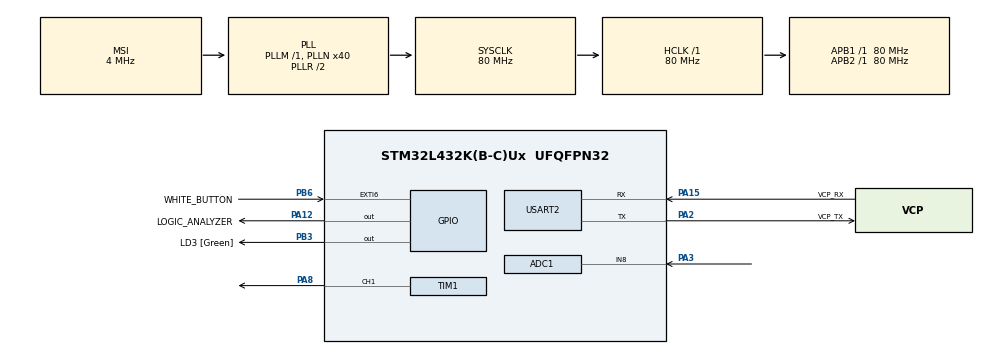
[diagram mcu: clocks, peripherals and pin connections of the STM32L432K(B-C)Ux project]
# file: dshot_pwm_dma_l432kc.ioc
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ADC1.Channel-0\#ChannelRegularConversion=ADC_CHANNEL_8
ADC1.NbrOfConversionFlag=1
ADC1.OffsetNumber-0\#ChannelRegularConversion=ADC_OFFSET_NONE
ADC1.OversamplingMode=DISABLE
ADC1.Rank-0\#ChannelRegularConversion=1
ADC1.Resolution=ADC_RESOLUTION_10B
ADC1.SamplingTime-0\#ChannelRegularConversion=ADC_SAMPLETIME_2CYCLES_5
ADC1.master=1
Dma.Request0=TIM1_CH1
Dma.Request1=TIM1_UP
Dma.TIM1_CH1.0.Direction=DMA_MEMORY_TO_PERIPH
Dma.TIM1_CH1.0.Instance=DMA1_Channel2
Dma.TIM1_CH1.0.MemDataAlignment=DMA_MDATAALIGN_BYTE
Dma.TIM1_CH1.0.MemInc=DMA_MINC_ENABLE
Dma.TIM1_CH1.0.Mode=DMA_NORMAL
Dma.TIM1_CH1.0.PeriphDataAlignment=DMA_PDATAALIGN_HALFWORD
Dma.TIM1_CH1.0.PeriphInc=DMA_PINC_DISABLE
Dma.TIM1_CH1.0.Priority=DMA_PRIORITY_LOW
Dma.TIM1_UP.1.Direction=DMA_MEMORY_TO_PERIPH
Dma.TIM1_UP.1.Instance=DMA1_Channel6
Dma.TIM1_UP.1.MemDataAlignment=DMA_MDATAALIGN_BYTE
Dma.TIM1_UP.1.MemInc=DMA_MINC_ENABLE
Dma.TIM1_UP.1.Mode=DMA_NORMAL
Dma.TIM1_UP.1.PeriphDataAlignment=DMA_PDATAALIGN_HALFWORD
Dma.TIM1_UP.1.PeriphInc=DMA_PINC_DISABLE
Dma.TIM1_UP.1.Priority=DMA_PRIORITY_LOW
Mcu.Family=STM32L4
Mcu.Name=STM32L432K(B-C)Ux
Mcu.Package=UFQFPN32
NVIC.DMA1_Channel2_IRQn=true\:0\:0\:false\:false\:true\:false\:true\:true
NVIC.DMA1_Channel6_IRQn=true\:0\:0\:false\:false\:true\:false\:true\:true
NVIC.EXTI9_5_IRQn=true\:0\:0\:false\:false\:true\:true\:true\:true
NVIC.PriorityGroup=NVIC_PRIORITYGROUP_4
PA0.GPIO_Label=MCO [High speed clock in]
PA0.Mode=HSE-External-Clock-Source-for-LittleOrca
PA0.Signal=RCC_CK_IN
PA10.Signal=I2C1_SDA
PA12.GPIO_Label=LOGIC_ANALYZER
PA12.Signal=GPIO_Output
PA13\ (JTMS-SWDIO).GPIO_Label=SWDIO
PA13\ (JTMS-SWDIO).Mode=Serial_Wire
PA13\ (JTMS-SWDIO).Signal=SYS_JTMS-SWDIO
PA14\ (JTCK-SWCLK).GPIO_Label=SWCLK
PA14\ (JTCK-SWCLK).Mode=Serial_Wire
PA14\ (JTCK-SWCLK).Signal=SYS_JTCK-SWCLK
PA15\ (JTDI).GPIO_Label=VCP_RX
PA15\ (JTDI).Mode=Asynchronous
PA15\ (JTDI).Signal=USART2_RX
PA2.GPIO_Label=VCP_TX
PA2.Mode=Asynchronous
PA2.Signal=USART2_TX
PA3.Signal=ADCx_IN8
PA8.Signal=S_TIM1_CH1
PA9.Signal=I2C1_SCL
PB3\ (JTDO-TRACESWO).GPIO_Label=LD3 [Green]
PB3\ (JTDO-TRACESWO).Signal=GPIO_Output
PB4\ (NJTRST).Signal=SPI1_MISO
PB5.Signal=SPI1_MOSI
PB6.GPIO_Label=WHITE_BUTTON
PB6.GPIO_ModeDefaultEXTI=GPIO_MODE_IT_FALLING
PB6.GPIO_PuPd=GPIO_PULLUP
PB6.Signal=GPXTI6
PC14-OSC32_IN\ (PC14).Mode=LSE-External-Oscillator
PC14-OSC32_IN\ (PC14).Signal=RCC_OSC32_IN
PC15-OSC32_OUT\ (PC15).Mode=LSE-External-Oscillator
PC15-OSC32_OUT\ (PC15).Signal=RCC_OSC32_OUT
ProjectManager.HeapSize=0x200
ProjectManager.StackSize=0x400
ProjectManager.TargetToolchain=STM32CubeIDE
RCC.ADCFreq_Value=32000000
RCC.AHBFreq_Value=80000000
RCC.APB1Freq_Value=80000000
RCC.APB1TimFreq_Value=80000000
RCC.APB2Freq_Value=80000000
RCC.APB2TimFreq_Value=80000000
RCC.CortexFreq_Value=80000000
RCC.HCLKFreq_Value=80000000
RCC.HSE_VALUE=8000000
RCC.HSI16_VALUE=16000000
RCC.HSI48_VALUE=48000000
RCC.HSI_VALUE=16000000
RCC.MSI_VALUE=4000000
RCC.PLLMUL=RCC_PLLMUL_4
RCC.PLLN=40
RCC.PLLSAI1N=16
RCC.SYSCLKFreq_VALUE=80000000
RCC.SYSCLKSource=RCC_SYSCLKSOURCE_PLLCLK
RCC.USBFreq_Value=32000000
RCC.VCOOutputFreq_Value=160000000
SH.ADCx_IN8.0=ADC1_IN8,IN8-Single-Ended
SH.S_TIM1_CH1.0=TIM1_CH1,PWM Generation1 CH1
TIM1.AutoReloadPreload=TIM_AUTORELOAD_PRELOAD_ENABLE
TIM1.Channel-PWM\ Generation1\ CH1=TIM_CHANNEL_1
TIM1.Period=DSHOT150_TIM_ARR
TIM1.Prescaler=8-1
TIM1.Pulse-PWM\ Generation1\ CH1=22
USART2.VirtualMode-Asynchronous=VM_ASYNC
VP_TIM1_VS_ClockSourceINT.Mode=Internal
board=NUCLEO-L432KC

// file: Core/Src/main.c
/* USER CODE BEGIN Header */
/**
 ******************************************************************************
 * @file           : main.c
 * @brief          : Main program body
 ******************************************************************************
 * @attention
 *
 * Copyright (c) 2023 STMicroelectronics.
 * All rights reserved.
 *
 * This software is licensed under terms that can be found in the LICENSE file
 * in the root directory of this software component.
 * If no LICENSE file comes with this software, it is provided AS-IS.
 *
 ******************************************************************************
 */
/* USER CODE END Header */
#include "main.h"
#include "adc.h"
#include "dma.h"
#include "tim.h"
#include "usart.h"
#include "gpio.h"

/* USER CODE BEGIN Includes */

#include "dshot150.h"

/* USER CODE END Includes */

/* USER CODE BEGIN PD */

#define ADC_TIMEOUT 1   // us
//#define REVERSE_SPIN_DIRECTION

/* USER CODE END PD */

/* USER CODE BEGIN PV */

uint16_t adc_reading;
uint16_t speed_ref;

volatile uint8_t white_button_flag = 0;

/* USER CODE END PV */

void SystemClock_Config(void);

int main(void)
{

  /* MCU Configuration--------------------------------------------------------*/

  /* Reset of all peripherals, Initializes the Flash interface and the Systick. */
  HAL_Init();

  /* Configure the system clock */
  SystemClock_Config();

  /* Initialize all configured peripherals */
  MX_GPIO_Init();
  MX_DMA_Init();
  MX_USART2_UART_Init();
  MX_TIM1_Init();
  MX_ADC1_Init();

  /* Infinite loop */
  /* USER CODE BEGIN WHILE */

	HAL_ADCEx_Calibration_Start(&hadc1, ADC_SINGLE_ENDED);
	HAL_ADC_Start(&hadc1);

	HAL_Delay(2000); // let the motor stop after uC RST

	dshot_arm_esc();
#ifdef REVERSE_SPIN_DIRECTION
	dshot_led_on(DSHOT_BLUE_LED);
	dshot_set_spin_direction(DSHOT_SPIN_DIRECTION_REVERSE);
#else
	dshot_led_on(DSHOT_GREEN_LED);
	dshot_set_spin_direction(DSHOT_SPIN_DIRECTION_NORMAL);
#endif

	while (1)
	{

		if (white_button_flag == 1)
		{
			white_button_flag = 0;
			__NOP();
		}

		if (HAL_ADC_PollForConversion(&hadc1, ADC_TIMEOUT) == HAL_OK)
		{
			adc_reading = HAL_ADC_GetValue(&hadc1);
			speed_ref = adc_reading + SPEED_MIN;
			HAL_ADC_Start(&hadc1);
		}

		if (0 == check_dshot_ref_speed(speed_ref)) // not needed in this particular example because of 10-bit ADC, i.e. max 1023
		{
			dshot_send_ref_speed(speed_ref);
		}

    /* USER CODE END WHILE */

	}
}

void SystemClock_Config(void)
{
  RCC_OscInitTypeDef RCC_OscInitStruct = {0};
  RCC_ClkInitTypeDef RCC_ClkInitStruct = {0};

  /** Configure the main internal regulator output voltage
  */
  if (HAL_PWREx_ControlVoltageScaling(PWR_REGULATOR_VOLTAGE_SCALE1) != HAL_OK)
  {
    Error_Handler();
  }

  /** Configure LSE Drive Capability
  */
  HAL_PWR_EnableBkUpAccess();
  __HAL_RCC_LSEDRIVE_CONFIG(RCC_LSEDRIVE_LOW);

  /** Initializes the RCC Oscillators according to the specified parameters
  * in the RCC_OscInitTypeDef structure.
  */
  RCC_OscInitStruct.OscillatorType = RCC_OSCILLATORTYPE_LSE|RCC_OSCILLATORTYPE_MSI;
  RCC_OscInitStruct.LSEState = RCC_LSE_ON;
  RCC_OscInitStruct.MSIState = RCC_MSI_ON;
  RCC_OscInitStruct.MSICalibrationValue = 0;
  RCC_OscInitStruct.MSIClockRange = RCC_MSIRANGE_6;
  RCC_OscInitStruct.PLL.PLLState = RCC_PLL_ON;
  RCC_OscInitStruct.PLL.PLLSource = RCC_PLLSOURCE_MSI;
  RCC_OscInitStruct.PLL.PLLM = 1;
  RCC_OscInitStruct.PLL.PLLN = 40;
  RCC_OscInitStruct.PLL.PLLP = RCC_PLLP_DIV7;
  RCC_OscInitStruct.PLL.PLLQ = RCC_PLLQ_DIV2;
  RCC_OscInitStruct.PLL.PLLR = RCC_PLLR_DIV2;
  if (HAL_RCC_OscConfig(&RCC_OscInitStruct) != HAL_OK)
  {
    Error_Handler();
  }

  /** Initializes the CPU, AHB and APB buses clocks
  */
  RCC_ClkInitStruct.ClockType = RCC_CLOCKTYPE_HCLK|RCC_CLOCKTYPE_SYSCLK
                              |RCC_CLOCKTYPE_PCLK1|RCC_CLOCKTYPE_PCLK2;
  RCC_ClkInitStruct.SYSCLKSource = RCC_SYSCLKSOURCE_PLLCLK;
  RCC_ClkInitStruct.AHBCLKDivider = RCC_SYSCLK_DIV1;
  RCC_ClkInitStruct.APB1CLKDivider = RCC_HCLK_DIV1;
  RCC_ClkInitStruct.APB2CLKDivider = RCC_HCLK_DIV1;

  if (HAL_RCC_ClockConfig(&RCC_ClkInitStruct, FLASH_LATENCY_4) != HAL_OK)
  {
    Error_Handler();
  }

  /** Enable MSI Auto calibration
  */
  HAL_RCCEx_EnableMSIPLLMode();
}

/* USER CODE BEGIN 4 */
void HAL_GPIO_EXTI_Callback(uint16_t GPIO_Pin)
{
	if (GPIO_Pin == WHITE_BUTTON_Pin)
	{
		white_button_flag = 1;
	}
}
/* USER CODE END 4 */

void Error_Handler(void)
{
	__disable_irq();
	while (1)
	{
	}
}
